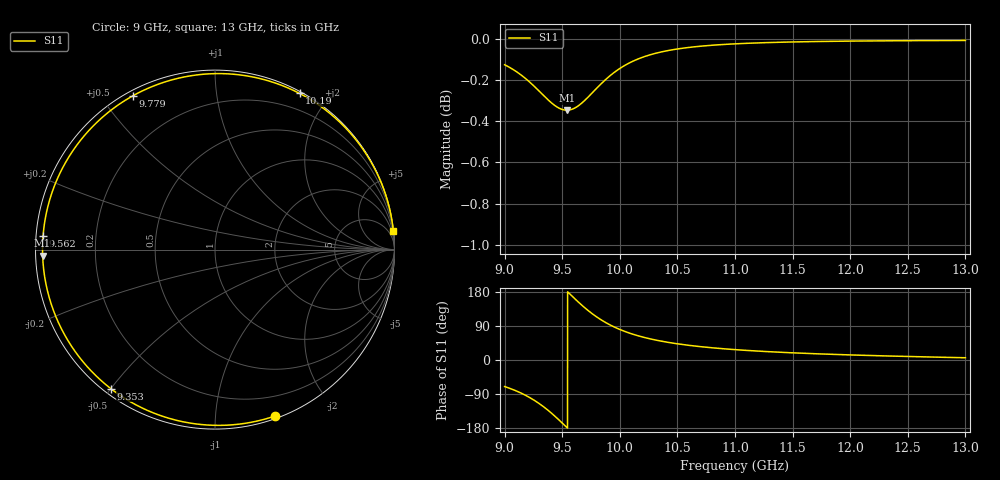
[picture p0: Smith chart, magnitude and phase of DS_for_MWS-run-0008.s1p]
! TOUCHSTONE file generated by CST DESIGN STUDIO
! Date and time: Tue Feb  4 17:45:08 2025
! Project name: C:\Work\MatlabApps\UnitCellOptimizationMatlab\CST\unitcell.cst
! Tree item: Tasks\Sweep1\SPara1\S-Parameters
! Header version: 2024
! Port assignment regex: !\s*Touchstone port\s*([0-9]+)\s*=\s*(CST MWS port|CST DES external port|CST DES block port)\s*(.+)\s* \(\"(.*)\"\)(\s*mode\s*([0-9]+))?.*
! Touchstone port assignment:
! Touchstone port 1 = CST DES external port 1 ("")
# GHz S MA R 50
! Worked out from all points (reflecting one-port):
!   4001 points, 9 GHz to 13 GHz, reference 50 ohm
!   lowest |S11| = -0.3 dB at 9.54 GHz (marker M1), VSWR 50.16, Z = 0.997 - j0.867 ohm
!   phase of S11 starts at -70 deg and turns -284 deg over the sweep
!   S11 on the Smith chart (normalised r, x): 9 GHz: 0.02, -1.43; 9.353 GHz: 0.02, -0.50; 9.562 GHz: 0.02, +0.04; 9.779 GHz: 0.02, +0.60; 10.19 GHz: 0.02, +1.68; 13 GHz: 0, +19
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9  0.9857 -70.1
9.1  0.982 -81.5
9.209  0.9766 -97.6
9.285  0.9722 -111.8
9.353  0.9679 -126.8
9.423  0.964 -144.6
9.463  0.9623 -155.6
9.5  0.9613 -166.3
9.54  0.9609 -178.0
9.562  0.961 175.5
9.616  0.9623 159.7
9.677  0.9651 142.8
9.728  0.9682 129.8
9.779  0.9715 118.0
9.826  0.9745 108.3
9.877  0.9775 98.9
9.934  0.9806 89.7
10  0.9836 80.6
10.089  0.9869 70.4
10.186  0.9895 61.6
10.33  0.9923 51.5
10.5  0.9944 42.7
10.721  0.9961 34.6
11  0.9973 27.4
11.5  0.9983 18.9
12  0.9988 13.4
12.5  0.999 9.3
13  0.9991 5.9
